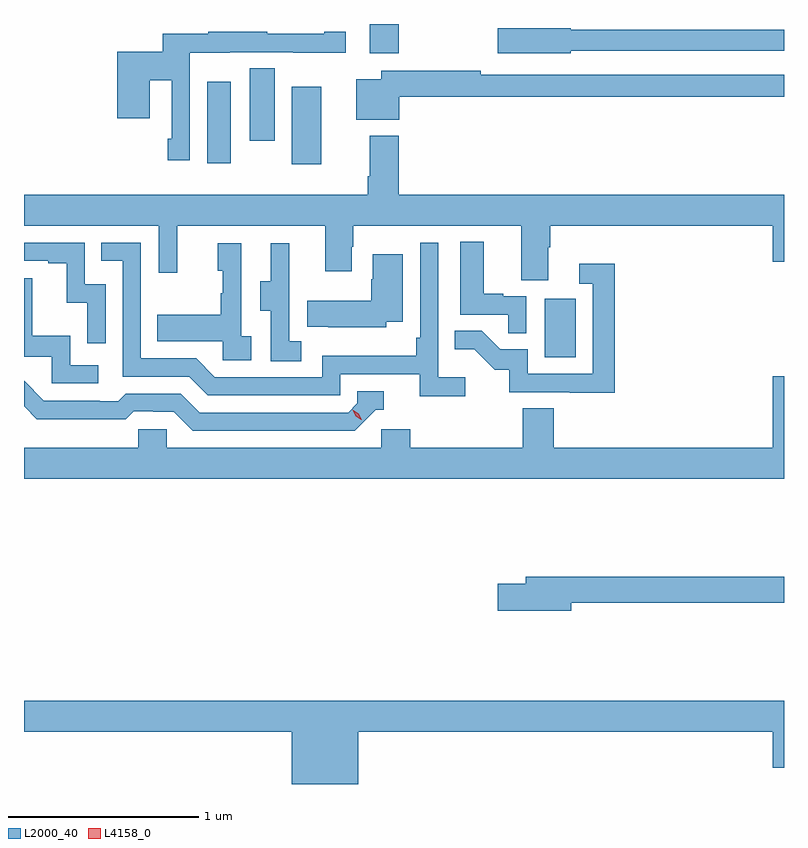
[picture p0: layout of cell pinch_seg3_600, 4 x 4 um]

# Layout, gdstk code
import gdstk
lib = gdstk.Library(unit=1e-6, precision=1e-09)
def R(c, l, rs):  # rectangles x0, y0, x1, y1
    for r in rs: c.add(gdstk.rectangle(r[:2], r[2:], *l))
def P(c, l, *ps):  # polygons
    for p in ps: c.add(gdstk.Polygon(p, *l))
L2000_40 = (2000, 40)
L4158_0 = (4158, 0)

pinch_seg3_600 = lib.new_cell('pinch_seg3_600')
R(pinch_seg3_600, L2000_40, [(1050.92,693.564,1051.084,693.871), (1049.588,694.581,1049.743,694.987), (1049.144,694.584,1049.266,695.014), (1049.366,694.704,1049.5,695.084), (1049.999,695.163,1050.152,695.318)])
P(pinch_seg3_600, L2000_40, [(1051.056,695.178),(1052.179,695.178),(1052.179,695.287),(1051.056,695.287),(1051.056,695.295),(1050.672,695.295),(1050.672,695.165),(1051.056,695.165)],
  [(1049.052,695.168),(1049.262,695.168),(1049.262,695.169),(1049.596,695.169),(1049.596,695.168),(1049.872,695.168),(1049.872,695.278),(1049.759,695.278),(1049.759,695.268),(1049.459,695.268),(1049.459,695.278),(1049.149,695.278),(1049.149,695.268),(1048.91,695.268),(1048.91,695.173),(1048.67,695.173),(1048.67,694.821),(1048.84,694.821),(1048.84,695.021),(1048.956,695.021),(1048.956,694.714),(1048.936,694.714),(1048.936,694.602),(1049.052,694.602)],
  [(1050.154,694.936),(1052.179,694.936),(1052.179,695.052),(1050.584,695.052),(1050.584,695.072),(1050.06,695.072),(1050.06,695.026),(1049.927,695.026),(1049.927,694.814),(1050.154,694.814)],
  [(1050.937,694.144),(1050.95,694.144),(1050.95,694.256),(1052.12,694.256),(1052.12,694.068),(1052.179,694.068),(1052.179,694.42),(1050.152,694.42),(1050.152,694.729),(1049.999,694.729),(1049.999,694.516),(1049.987,694.516),(1049.987,694.42),(1048.179,694.42),(1048.179,694.256),(1048.887,694.256),(1048.887,694.008),(1048.985,694.008),(1048.985,694.256),(1049.765,694.256),(1049.765,694.017),(1049.905,694.017),(1049.905,694.145),(1049.913,694.145),(1049.913,694.256),(1050.797,694.256),(1050.797,693.97),(1050.937,693.97)],
  [(1050.822,693.885),(1050.701,693.885),(1050.701,693.898),(1050.598,693.898),(1050.598,694.171),(1050.476,694.171),(1050.476,693.789),(1050.727,693.789),(1050.727,693.691),(1050.822,693.691)],
  [(1050.502,693.46),(1050.36,693.46),(1050.36,694.168),(1050.264,694.168),(1050.264,693.667),(1050.244,693.667),(1050.244,693.571),(1049.748,693.571),(1049.748,693.459),(1049.184,693.459),(1049.085,693.558),(1048.794,693.558),(1048.794,694.167),(1048.585,694.167),(1048.585,694.071),(1048.698,694.071),(1048.698,693.462),(1049.048,693.462),(1049.147,693.363),(1049.844,693.363),(1049.844,693.474),(1050.263,693.474),(1050.263,693.358),(1050.502,693.358)],
  [(1048.608,693.948),(1048.5,693.948),(1048.5,694.167),(1048.179,694.167),(1048.179,694.071),(1048.307,694.071),(1048.307,694.059),(1048.403,694.059),(1048.403,693.851),(1048.512,693.851),(1048.512,693.639),(1048.608,693.639)],
  [(1049.638,693.647),(1049.574,693.647),(1049.574,693.951),(1049.576,693.951),(1049.576,694.165),(1049.477,694.165),(1049.477,693.963),(1049.423,693.963),(1049.423,693.808),(1049.478,693.808),(1049.478,693.544),(1049.638,693.544)],
  [(1049.374,693.674),(1049.322,693.674),(1049.322,694.165),(1049.198,694.165),(1049.198,694.02),(1049.224,694.02),(1049.224,693.902),(1049.214,693.902),(1049.214,693.787),(1048.879,693.787),(1048.879,693.647),(1049.226,693.647),(1049.226,693.549),(1049.374,693.549)],
  [(1050.085,693.752),(1050.172,693.752),(1050.172,694.105),(1050.014,694.105),(1050.014,693.975),(1050.007,693.975),(1050.007,693.862),(1049.671,693.862),(1049.671,693.725),(1049.779,693.725),(1049.779,693.722),(1050.085,693.722)],
  [(1051.289,694.057),(1051.101,694.057),(1051.101,693.951),(1051.173,693.951),(1051.173,693.477),(1050.831,693.477),(1050.831,693.606),(1050.686,693.606),(1050.588,693.704),(1050.445,693.704),(1050.445,693.605),(1050.549,693.605),(1050.656,693.498),(1050.733,693.498),(1050.733,693.381),(1051.051,693.381),(1051.051,693.376),(1051.289,693.376)],
  [(1048.57,693.522),(1048.422,693.522),(1048.422,693.676),(1048.223,693.676),(1048.223,693.979),(1048.179,693.979),(1048.179,693.567),(1048.326,693.567),(1048.326,693.426),(1048.57,693.426)],
  [(1052.179,693.463),(1052.12,693.463),(1052.12,693.088),(1050.968,693.088),(1050.968,693.296),(1050.803,693.296),(1050.803,693.088),(1050.212,693.088),(1050.212,693.186),(1050.06,693.186),(1050.06,693.088),(1048.929,693.088),(1048.929,693.186),(1048.779,693.186),(1048.779,693.088),(1048.179,693.088),(1048.179,692.924),(1052.179,692.924)],
  [(1050.03,693.288),(1050.073,693.288),(1050.073,693.384),(1049.934,693.384),(1049.934,693.321),(1049.886,693.273),(1049.103,693.273),(1049.004,693.372),(1048.715,693.372),(1048.676,693.333),(1048.577,693.333),(1048.577,693.336),(1048.284,693.336),(1048.179,693.441),(1048.179,693.306),(1048.246,693.239),(1048.482,693.239),(1048.482,693.237),(1048.715,693.237),(1048.757,693.279),(1048.86,693.279),(1048.86,693.276),(1048.967,693.276),(1049.066,693.177),(1049.919,693.177)],
  [(1051.06,692.272),(1052.179,692.272),(1052.179,692.408),(1050.821,692.408),(1050.821,692.372),(1050.672,692.372),(1050.672,692.23),(1051.06,692.23)],
  [(1049.938,691.592),(1052.12,691.592),(1052.12,691.404),(1052.179,691.404),(1052.179,691.756),(1048.179,691.756),(1048.179,691.592),(1049.588,691.592),(1049.588,691.318),(1049.938,691.318)])
P(pinch_seg3_600, L4158_0, [(1049.955,693.234),(1049.925,693.254),(1049.91,693.286),(1049.91,693.287),(1049.91,693.287),(1049.94,693.267),(1049.956,693.234),(1049.956,693.234)])

lib.write_gds('pinch_seg3_600.gds')
